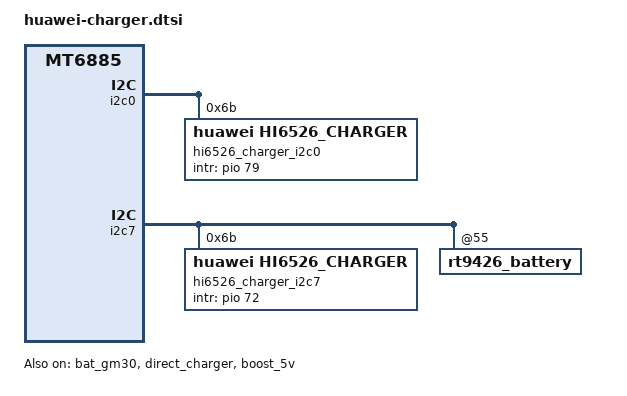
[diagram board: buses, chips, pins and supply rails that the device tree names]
#include "../huawei_charger/mt6885_yor_huawei_charger.dtsi"
&charger {
	bc12_charger = <0>; /* usb 6360 do bc12 */
};

&huawei_battery {
	use_third_coul = <0>;
};

&huawei_power_proxy  {
	status = "disabled";
};
&huawei_power_supply {
	status = "disabled";
};
&battery_core {
	status = "disabled";
};
&battery_model {
	bat_id_table =
		"BYTCAE_3700_4430_v0", "0", "0", "IA";
	design_fcc = <3900>;
	status = "disabled";
};
&battery_ui_capacity {
	status = "disabled";
};

&bat_gm30 {
	status = "ok";
};

&i2c0 {
	#address-cells = <1>;
	#size-cells = <0>;
	bq25970@65 {
		status = "disabled";
	};

	hi6526_charger_i2c0@6B{
		compatible = "huawei,hi6526_charger";
		reg = <0x6B>;
		dbg_check_en = <1>;
		intr_gpio_num = <79>; /* direct defined GPIO num */
		intr_gpio = <&pio 79 0x0>;
		bat_comp = <60>;
		vclamp = <192>;
		fcp_support = <1>;
		scp_support = <1>;
		lvc_ibat_regulator = <12200>;
		lvc_vbat_regulator = <4500>;
		lvc_vout_regulator = <4550>;
		lvc_ibus_regulator = <5600>;
		sc_ibat_regulator = <12200>;
		sc_vbat_regulator = <4500>;
		sc_vout_regulator = <4550>;
		sc_ibus_regulator = <5000>;
		lvc_vusb2vbus_drop_en = <1>;
		sc_vusb2vbus_drop_en = <1>;
		/* loop mode must be turned off, if temperature channels need to be acquired */
		adc_single_mode_en = <0>;
		adc_tsbat_support = <0>;
		vusb_uv_flag = <1>;
		r_coul_mohm = <1>;
		ic_role = <1>;
		status = "ok";
	};
};

&i2c7 {
	#address-cells = <1>;
	#size-cells = <0>;
	fairchild_fsa9685@25 {
		status = "disabled";
	};
	bq25970@65 {
		status = "disabled";
	};
	hi6526_charger_i2c7@6B{
		compatible = "huawei,hi6526_charger";
		reg = <0x6B>;
		dbg_check_en = <1>;
		bat_comp = <60>;
		vclamp = <192>;
		fcp_support = <1>;
		scp_support = <1>;
		lvc_ibat_regulator = <12200>;
		lvc_vbat_regulator = <4500>;
		lvc_vout_regulator = <4550>;
		lvc_ibus_regulator = <5600>;
		sc_ibat_regulator = <12200>;
		sc_vbat_regulator = <4500>;
		sc_vout_regulator = <4550>;
		sc_ibus_regulator = <5600>;
		lvc_vusb2vbus_drop_en = <1>;
		sc_vusb2vbus_drop_en = <1>;
		/* loop mode must be turned off, if temperature channels need to be acquired */
		adc_single_mode_en = <0>;
		adc_tsbat_support = <0>;
		vusb_uv_flag = <1>;
		intr_gpio_num = <72>; /* direct defined GPIO num */
		intr_gpio = <&pio 72 0x0>;
		r_coul_mohm = <1>;
		ic_role = <0>;
		status = "ok";
	};
	rt9426_battery@55{
		status = "ok";
	};
};

&direct_charger {
	status = "ok";
};

&boost_5v {
	boost_5v_use_common_pmic = <1>;
	status = "ok";
};
